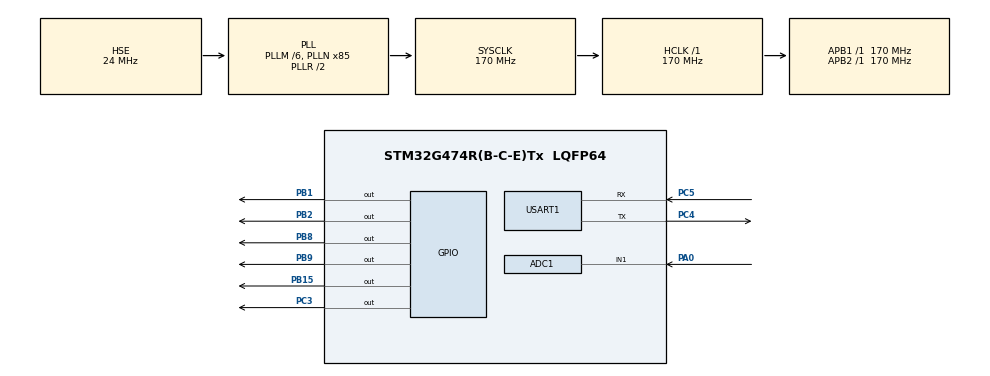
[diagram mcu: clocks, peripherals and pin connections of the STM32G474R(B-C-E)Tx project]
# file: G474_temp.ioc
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ADC1.Channel-0\#ChannelRegularConversion=ADC_CHANNEL_1
ADC1.ContinuousConvMode=DISABLE
ADC1.DMAContinuousRequests=DISABLE
ADC1.ExternalTrigConv=ADC_EXTERNALTRIG_T3_TRGO
ADC1.NbrOfConversionFlag=1
ADC1.OffsetNumber-0\#ChannelRegularConversion=ADC_OFFSET_NONE
ADC1.Rank-0\#ChannelRegularConversion=1
ADC1.SamplingTime-0\#ChannelRegularConversion=ADC_SAMPLETIME_2CYCLES_5
ADC1.master=1
Dma.ADC1.0.Direction=DMA_PERIPH_TO_MEMORY
Dma.ADC1.0.EventEnable=DISABLE
Dma.ADC1.0.Instance=DMA1_Channel1
Dma.ADC1.0.MemDataAlignment=DMA_MDATAALIGN_HALFWORD
Dma.ADC1.0.MemInc=DMA_MINC_ENABLE
Dma.ADC1.0.Mode=DMA_CIRCULAR
Dma.ADC1.0.PeriphDataAlignment=DMA_PDATAALIGN_HALFWORD
Dma.ADC1.0.PeriphInc=DMA_PINC_DISABLE
Dma.ADC1.0.Polarity=HAL_DMAMUX_REQ_GEN_RISING
Dma.ADC1.0.Priority=DMA_PRIORITY_LOW
Dma.ADC1.0.RequestNumber=1
Dma.ADC1.0.SignalID=NONE
Dma.ADC1.0.SyncEnable=DISABLE
Dma.ADC1.0.SyncPolarity=HAL_DMAMUX_SYNC_NO_EVENT
Dma.ADC1.0.SyncRequestNumber=1
Dma.ADC1.0.SyncSignalID=NONE
Dma.Request0=ADC1
Mcu.Family=STM32G4
Mcu.Name=STM32G474R(B-C-E)Tx
Mcu.Package=LQFP64
NVIC.DMA1_Channel1_IRQn=true\:0\:0\:false\:false\:true\:false\:true\:true
NVIC.PriorityGroup=NVIC_PRIORITYGROUP_4
NVIC.USART1_IRQn=true\:0\:0\:false\:false\:true\:true\:true\:true
PA0.Mode=IN1-Single-Ended
PA0.Signal=ADC1_IN1
PA13.Mode=Serial_Wire
PA13.Signal=SYS_JTMS-SWDIO
PA14.Mode=Serial_Wire
PA14.Signal=SYS_JTCK-SWCLK
PB1.GPIO_Speed=GPIO_SPEED_FREQ_HIGH
PB1.Signal=GPIO_Output
PB15.GPIO_Speed=GPIO_SPEED_FREQ_HIGH
PB15.Signal=GPIO_Output
PB2.GPIO_Speed=GPIO_SPEED_FREQ_HIGH
PB2.Signal=GPIO_Output
PB8-BOOT0.GPIO_FM8=__NULL
PB8-BOOT0.GPIO_ModeDefaultOutputPP=GPIO_MODE_OUTPUT_OD
PB8-BOOT0.GPIO_PuPd=GPIO_PULLUP
PB8-BOOT0.GPIO_Speed=GPIO_SPEED_FREQ_VERY_HIGH
PB8-BOOT0.Signal=GPIO_Output
PB9.GPIO_ModeDefaultOutputPP=GPIO_MODE_OUTPUT_OD
PB9.GPIO_PuPd=GPIO_PULLUP
PB9.GPIO_Speed=GPIO_SPEED_FREQ_VERY_HIGH
PB9.Signal=GPIO_Output
PC14-OSC32_IN.Mode=LSE-External-Oscillator
PC14-OSC32_IN.Signal=RCC_OSC32_IN
PC15-OSC32_OUT.Mode=LSE-External-Oscillator
PC15-OSC32_OUT.Signal=RCC_OSC32_OUT
PC3.GPIO_ModeDefaultOutputPP=GPIO_MODE_OUTPUT_PP
PC3.GPIO_PuPd=GPIO_PULLDOWN
PC3.GPIO_Speed=GPIO_SPEED_FREQ_LOW
PC3.PinState=GPIO_PIN_RESET
PC3.Signal=GPIO_Output
PC4.Mode=Asynchronous
PC4.Signal=USART1_TX
PC5.Mode=Asynchronous
PC5.Signal=USART1_RX
PF0-OSC_IN.Mode=HSE-External-Oscillator
PF0-OSC_IN.Signal=RCC_OSC_IN
PF1-OSC_OUT.Mode=HSE-External-Oscillator
PF1-OSC_OUT.Signal=RCC_OSC_OUT
ProjectManager.HeapSize=0x200
ProjectManager.StackSize=0x400
ProjectManager.TargetToolchain=MDK-ARM V5.32
RCC.ADC12Freq_Value=170000000
RCC.ADC345Freq_Value=170000000
RCC.AHBFreq_Value=170000000
RCC.APB1Freq_Value=170000000
RCC.APB1TimFreq_Value=170000000
RCC.APB2Freq_Value=170000000
RCC.APB2TimFreq_Value=170000000
RCC.CortexFreq_Value=170000000
RCC.EXTERNAL_CLOCK_VALUE=12288000
RCC.HCLKFreq_Value=170000000
RCC.HSE_VALUE=24000000
RCC.HSI48_VALUE=48000000
RCC.HSI_VALUE=16000000
RCC.PLLM=RCC_PLLM_DIV6
RCC.PLLN=85
RCC.PLLSourceVirtual=RCC_PLLSOURCE_HSE
RCC.RTCClockSelection=RCC_RTCCLKSOURCE_LSE
RCC.SYSCLKFreq_VALUE=170000000
RCC.SYSCLKSource=RCC_SYSCLKSOURCE_PLLCLK
RCC.USBFreq_Value=170000000
RCC.VCOOutputFreq_Value=340000000
STMicroelectronics.X-CUBE-ALGOBUILD.1.3.0.LibraryCcDSPOoLibraryJjDSPOoLibrary=true
TIM3.TIM_MasterOutputTrigger=TIM_TRGO_UPDATE
USART1.VirtualMode-Asynchronous=VM_ASYNC
VP_STMicroelectronics.X-CUBE-ALGOBUILD_VS_DSPOoLibraryJjLibrary_1.3.0_1.3.0.Mode=DSPOoLibraryJjLibrary
VP_SYS_VS_DBSignals.Mode=DisableDeadBatterySignals
VP_TIM3_VS_ClockSourceINT.Mode=Internal
board=NUCLEO-G474RE

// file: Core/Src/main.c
/* USER CODE BEGIN Header */
/**
  ******************************************************************************
  * @file           : main.c
  * @brief          : Main program body
  ******************************************************************************
  * @attention
  *
  * Copyright (c) 2023 STMicroelectronics.
  * All rights reserved.
  *
  * This software is licensed under terms that can be found in the LICENSE file
  * in the root directory of this software component.
  * If no LICENSE file comes with this software, it is provided AS-IS.
  *
  ******************************************************************************
  */
/* USER CODE END Header */
#include "main.h"
#include "adc.h"
#include "dma.h"
#include "tim.h"
#include "usart.h"
#include "gpio.h"

/* USER CODE BEGIN Includes */
#include "delay.h"
#include "myusart1.h"
#include "OLED_I2C.h"
#include "FFT.h"
#include "stdio.h"
#include "string.h"
/* USER CODE END Includes */

/* USER CODE BEGIN PV */

//extern的值
extern uint32_t FRE;
extern uint32_t Fn;
extern uint16_t cnt;
extern uint16_t vmax;
extern uint16_t vmin;
extern uint16_t amp;

uint8_t data_rx[7] = {0};
uint8_t adc_flag=1;
uint8_t rx_byte = 0;
/* USER CODE END PV */

void SystemClock_Config(void);

/* USER CODE BEGIN 0 */
void HAL_IncTick(void)
{
	if(uwTickFreq==0)
	{
		uwTickFreq = HAL_TICK_FREQ_DEFAULT;
	}
  uwTick += uwTickFreq;
};

/* USER CODE END 0 */

int main(void)
{

  /* MCU Configuration--------------------------------------------------------*/

  /* Reset of all peripherals, Initializes the Flash interface and the Systick. */
  HAL_Init();

  /* Configure the system clock */
  SystemClock_Config();

  /* Initialize all configured peripherals */
  MX_GPIO_Init();
  MX_DMA_Init();
  MX_USART1_UART_Init();
  MX_ADC1_Init();
  MX_TIM3_Init();
  /* USER CODE BEGIN 2 */
  delay_init(170);
  MyUSART1_Init(&huart1);
  OLED_Init();
  OLED_CLS();

  HAL_TIM_Base_Start(&htim3);

//  初始化清屏幕
  printf("main\xff\xff\xff");
  delay_ms(1000);
  printf("main\xff\xff\xff");
  FRE=1024000;
  ADC1_Get(FRE);

  /* USER CODE END 2 */

  /* Infinite loop */
  while (1)
  {

  }
}

void SystemClock_Config(void)
{
  RCC_OscInitTypeDef RCC_OscInitStruct = {0};
  RCC_ClkInitTypeDef RCC_ClkInitStruct = {0};

  /** Configure the main internal regulator output voltage
  */
  HAL_PWREx_ControlVoltageScaling(PWR_REGULATOR_VOLTAGE_SCALE1_BOOST);

  /** Initializes the RCC Oscillators according to the specified parameters
  * in the RCC_OscInitTypeDef structure.
  */
  RCC_OscInitStruct.OscillatorType = RCC_OSCILLATORTYPE_HSE;
  RCC_OscInitStruct.HSEState = RCC_HSE_ON;
  RCC_OscInitStruct.PLL.PLLState = RCC_PLL_ON;
  RCC_OscInitStruct.PLL.PLLSource = RCC_PLLSOURCE_HSE;
  RCC_OscInitStruct.PLL.PLLM = RCC_PLLM_DIV6;
  RCC_OscInitStruct.PLL.PLLN = 85;
  RCC_OscInitStruct.PLL.PLLP = RCC_PLLP_DIV2;
  RCC_OscInitStruct.PLL.PLLQ = RCC_PLLQ_DIV2;
  RCC_OscInitStruct.PLL.PLLR = RCC_PLLR_DIV2;
  if (HAL_RCC_OscConfig(&RCC_OscInitStruct) != HAL_OK)
  {
    Error_Handler();
  }

  /** Initializes the CPU, AHB and APB buses clocks
  */
  RCC_ClkInitStruct.ClockType = RCC_CLOCKTYPE_HCLK|RCC_CLOCKTYPE_SYSCLK
                              |RCC_CLOCKTYPE_PCLK1|RCC_CLOCKTYPE_PCLK2;
  RCC_ClkInitStruct.SYSCLKSource = RCC_SYSCLKSOURCE_PLLCLK;
  RCC_ClkInitStruct.AHBCLKDivider = RCC_SYSCLK_DIV1;
  RCC_ClkInitStruct.APB1CLKDivider = RCC_HCLK_DIV1;
  RCC_ClkInitStruct.APB2CLKDivider = RCC_HCLK_DIV1;

  if (HAL_RCC_ClockConfig(&RCC_ClkInitStruct, FLASH_LATENCY_4) != HAL_OK)
  {
    Error_Handler();
  }
}

/* USER CODE BEGIN 4 */
void HAL_ADC_ConvCpltCallback(ADC_HandleTypeDef *hadc)
{
	if(hadc == &hadc1)
	{
		fft_spectrogram_judge();
	}
	FRE=1024000;
	//ADC1_Get(FRE);
}

/* USER CODE END 4 */

void Error_Handler(void)
{
  __disable_irq();
  while (1)
  {
  }
}
